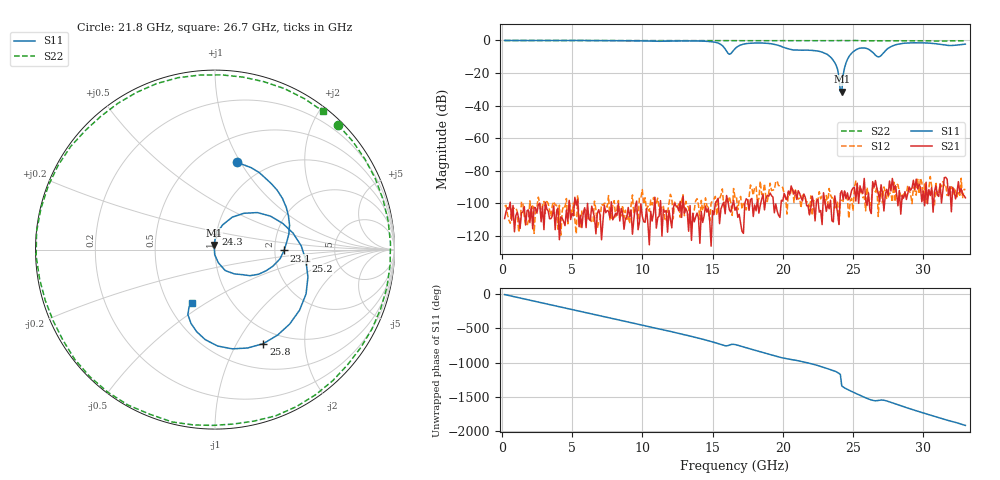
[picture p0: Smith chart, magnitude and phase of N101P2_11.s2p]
# GHZ S RI R 50
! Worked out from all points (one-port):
!   329 points, 200 MHz to 33 GHz, reference 50 ohm
!   lowest |S11| = -31.4 dB at 24.2 GHz (marker M1), VSWR 1.06, Z = 49.4 + j2.62 ohm
!   |S11| at or under -10 dB: 23.37 GHz to 24.71 GHz (1.336 GHz wide, 5.56 % of centre); 26.7736 GHz to 26.8535 GHz (79.91 MHz wide, 0.298 % of centre)
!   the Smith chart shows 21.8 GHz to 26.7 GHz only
!   S11 on the Smith chart (normalised r, x): 21.8 GHz: 0.74, +0.97; 23.1 GHz: 2.25, -0.02; 24.3 GHz: 1.00, +0.18; 25.2 GHz: 2.99, -0.51; 25.8 GHz: 0.81, -1.30; 26.7 GHz: 0.66, -0.44
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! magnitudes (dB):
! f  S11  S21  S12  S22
! 200 MHz  0.0  -109.3  -101.7  0.0
! 5.7 GHz  0.0  -114.9  -104.8  0.0
! 11.2 GHz  -0.5  -107.9  -103.5  -0.2
! 15.2 GHz  -1.1  -100.0  -95.8  -0.1
! 16.2 GHz  -8.5  -104.1  -95.8  -0.1
! 16.6 GHz  -5.1  -104.3  -96.4  -0.1
! 18.4 GHz  -1.6  -101.2  -86.4  -0.1
! 21.8 GHz  -6.0  -101.5  -99.1  -0.2
! 22.1 GHz  -6.1  -95.6  -107.4  -0.2
! 23.1 GHz  -8.3  -105.0  -95.2  -0.2
! 23.8 GHz  -15.2  -100.7  -102.0  -0.1
! 24 GHz  -22.5  -113.0  -113.6  -0.1
! 24.1 GHz  -31.3  -94.0  -98.9  -0.1
! 24.2 GHz  -31.4  -92.3  -98.0  -0.1
! 24.3 GHz  -21.1  -97.5  -98.8  -0.1
! 24.6 GHz  -11.8  -93.6  -96.5  -0.1
! 25.2 GHz  -5.8  -98.6  -86.4  0.0
! 25.8 GHz  -4.6  -84.7  -96.1  -0.2
! 26.7 GHz  -9.8  -90.8  -89.7  -0.2
! 27.6 GHz  -4.3  -86.3  -93.8  -0.2
! 29.1 GHz  -1.5  -92.0  -94.4  -0.2
! 33 GHz  -2.3  -96.6  -91.5  -0.3
